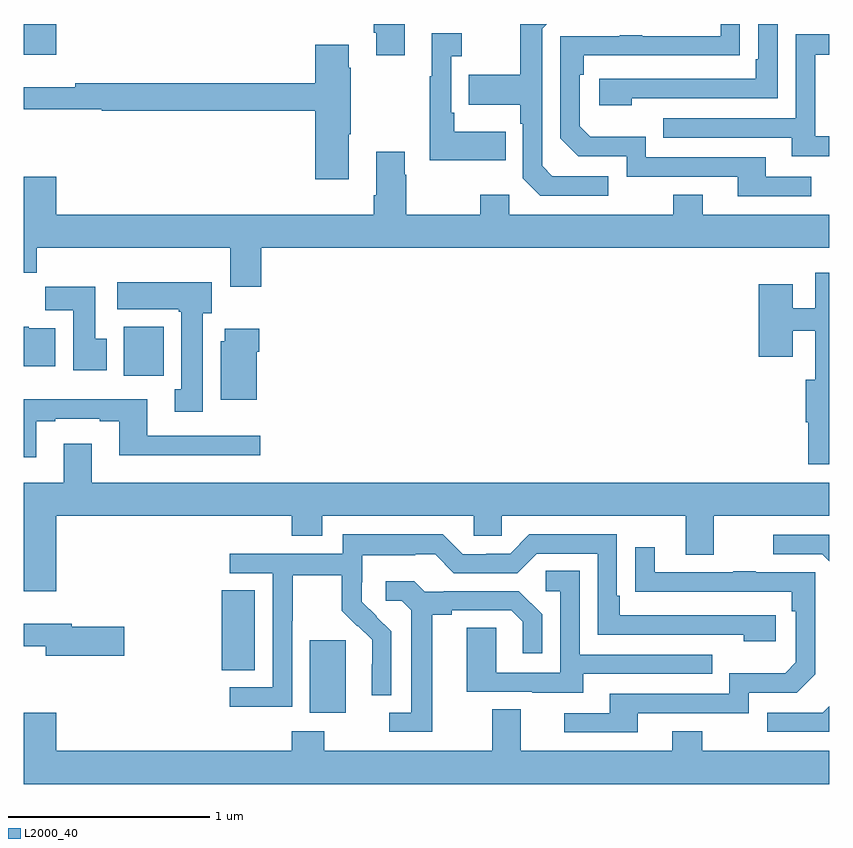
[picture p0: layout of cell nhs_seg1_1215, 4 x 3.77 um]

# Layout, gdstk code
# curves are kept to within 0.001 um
import gdstk
lib = gdstk.Library(unit=1e-6, precision=1e-09)
def R(c, l, rs):  # rectangles x0, y0, x1, y1
    for r in rs: c.add(gdstk.rectangle(r[:2], r[2:], *l))
def P(c, l, *ps):  # polygons
    for p in ps: c.add(gdstk.Polygon(p, *l))
L2000_40 = (2000, 40)

nhs_seg1_1215 = lib.new_cell('nhs_seg1_1215')
R(nhs_seg1_1215, L2000_40, [(178.421,526.778,178.6,527.139), (177.982,526.99,178.147,527.387), (177.497,528.452,177.694,528.694), (177,530.046,177.16,530.199)])
P(nhs_seg1_1215, L2000_40, [(178.739,530.155),(178.751,530.155),(178.751,530.043),(178.891,530.043),(178.891,530.199),(178.739,530.199)],
  [(180.91,529.44),(180.685,529.44),(180.685,529.536),(180.09,529.536),(180.09,529.639),(179.813,529.639),(179.76,529.692),(179.76,529.946),(179.78,529.946),(179.78,530.043),(180.557,530.044),(180.557,530.199),(180.461,530.199),(180.461,530.139),(180.071,530.139),(180.071,530.144),(179.959,530.144),(179.959,530.139),(179.664,530.139),(179.664,529.632),(179.754,529.542),(179.994,529.542),(179.994,529.44),(180.545,529.44),(180.545,529.344),(180.91,529.344)],
  [(179.902,529.443),(179.625,529.443),(179.574,529.494),(179.574,530.175),(179.598,530.199),(179.466,530.199),(179.466,529.947),(179.209,529.947),(179.209,529.799),(179.466,529.799),(179.466,529.703),(179.478,529.703),(179.478,529.434),(179.565,529.347),(179.902,529.347)],
  [(180.02,529.83),(180.744,529.83),(180.744,530.199),(180.648,530.199),(180.648,530.023),(180.635,530.023),(180.635,529.926),(179.859,529.926),(179.859,529.796),(180.02,529.796)],
  [(179.393,529.663),(179.137,529.663),(179.137,529.759),(179.124,529.759),(179.124,530.039),(179.176,530.039),(179.176,530.152),(179.027,530.152),(179.027,529.939),(179.016,529.939),(179.016,529.523),(179.393,529.523)],
  [(181,529.641),(180.93,529.641),(180.93,530.046),(181,530.046),(181,530.147),(180.834,530.147),(180.834,529.731),(180.175,529.731),(180.175,529.635),(180.815,529.635),(180.815,529.541),(181,529.541)],
  [(178.615,529.651),(178.623,529.651),(178.623,529.982),(178.615,529.982),(178.615,530.095),(178.448,530.095),(178.448,529.904),(177.256,529.904),(177.256,529.885),(177,529.885),(177,529.776),(177.387,529.776),(177.387,529.768),(178.448,529.768),(178.448,529.428),(178.615,529.428)],
  [(178.178,529.088),(181,529.088),(181,529.252),(180.373,529.252),(180.373,529.351),(180.226,529.351),(180.226,529.252),(179.412,529.252),(179.412,529.351),(179.266,529.351),(179.266,529.252),(178.899,529.252),(178.899,529.451),(178.891,529.451),(178.891,529.564),(178.751,529.564),(178.751,529.348),(178.739,529.348),(178.739,529.252),(177.16,529.252),(177.16,529.441),(177,529.441),(177,528.964),(177.065,528.964),(177.065,529.088),(178.025,529.088),(178.025,528.894),(178.178,528.894)],
  [(181,528.964),(180.93,528.964),(180.93,528.787),(180.82,528.787),(180.82,528.907),(180.65,528.907),(180.65,528.546),(180.82,528.546),(180.82,528.676),(180.93,528.676),(180.93,528.433),(180.884,528.433),(180.884,528.222),(180.896,528.222),(180.896,528.011),(181,528.011)],
  [(177.889,528.762),(177.934,528.762),(177.934,528.916),(177.465,528.916),(177.465,528.782),(177.769,528.782),(177.769,528.769),(177.782,528.769),(177.782,528.386),(177.749,528.386),(177.749,528.273),(177.889,528.273)],
  [(177.412,528.636),(177.355,528.636),(177.355,528.895),(177.106,528.895),(177.106,528.776),(177.245,528.776),(177.245,528.48),(177.412,528.48)],
  [(177.157,528.688),(177.024,528.688),(177.024,528.694),(177,528.694),(177,528.5),(177.157,528.5)],
  [(178.156,528.572),(178.169,528.572),(178.169,528.685),(177.998,528.685),(177.998,528.624),(177.977,528.624),(177.977,528.332),(178.156,528.332)],
  [(177.061,528.225),(177.157,528.225),(177.157,528.237),(177.377,528.237),(177.377,528.225),(177.473,528.225),(177.473,528.056),(178.174,528.056),(178.174,528.153),(177.613,528.153),(177.613,528.334),(177,528.334),(177,528.048),(177.061,528.048)],
  [(177.16,527.756),(178.331,527.756),(178.331,527.657),(178.483,527.657),(178.483,527.756),(179.235,527.756),(179.235,527.658),(179.373,527.658),(179.373,527.756),(180.287,527.756),(180.287,527.562),(180.427,527.562),(180.427,527.756),(181,527.756),(181,527.92),(177.337,527.92),(177.337,528.115),(177.197,528.115),(177.197,527.92),(177,527.92),(177,527.382),(177.16,527.382)],
  [(178.332,527.236),(178.335,527.236),(178.335,527.46),(178.579,527.46),(178.579,527.285),(178.656,527.208),(178.659,527.211),(178.73,527.141),(178.73,527.018),(178.728,527.018),(178.728,526.864),(178.824,526.864),(178.824,527.182),(178.678,527.33),(178.678,527.427),(178.68,527.427),(178.68,527.561),(178.943,527.561),(178.943,527.565),(179.043,527.565),(179.136,527.472),(179.451,527.472),(179.547,527.568),(179.85,527.568),(179.85,527.166),(180.575,527.166),(180.575,527.132),(180.736,527.132),(180.736,527.262),(179.959,527.262),(179.959,527.359),(179.946,527.359),(179.946,527.664),(179.511,527.664),(179.415,527.568),(179.297,527.568),(179.297,527.565),(179.181,527.565),(179.081,527.665),(178.584,527.665),(178.584,527.568),(178.023,527.568),(178.023,527.472),(178.236,527.472),(178.236,526.905),(178.023,526.905),(178.023,526.807),(178.332,526.807)],
  [(181,527.661),(180.723,527.661),(180.723,527.565),(180.966,527.565),(181,527.531)],
  [(180.049,526.776),(180.6,526.776),(180.6,526.878),(180.84,526.878),(180.93,526.968),(180.93,527.475),(180.635,527.475),(180.635,527.48),(180.523,527.48),(180.523,527.475),(180.133,527.475),(180.133,527.599),(180.037,527.599),(180.037,527.38),(180.814,527.379),(180.814,527.282),(180.834,527.282),(180.834,527.028),(180.781,526.975),(180.504,526.975),(180.504,526.872),(179.909,526.872),(179.909,526.776),(179.685,526.776),(179.685,526.68),(180.049,526.68)],
  [(179.779,526.971),(180.419,526.971),(180.419,527.067),(179.76,527.067),(179.76,527.483),(179.592,527.483),(179.592,527.382),(179.664,527.382),(179.664,526.977),(179.346,526.977),(179.346,527.201),(179.201,527.201),(179.201,526.881),(179.525,526.881),(179.525,526.877),(179.779,526.877)],
  [(179.029,527.264),(179.125,527.264),(179.125,527.286),(179.42,527.286),(179.477,527.229),(179.477,527.073),(179.574,527.073),(179.574,527.266),(179.458,527.382),(179.086,527.382),(179.086,527.379),(178.992,527.379),(178.94,527.431),(178.797,527.431),(178.797,527.334),(178.878,527.334),(178.925,527.287),(178.925,526.779),(178.815,526.779),(178.815,526.683),(179.029,526.683)],
  [(177.499,527.204),(177.238,527.204),(177.238,527.221),(177,527.221),(177,527.108),(177.11,527.108),(177.11,527.062),(177.499,527.062)],
  [(181,526.81),(180.969,526.779),(180.693,526.779),(180.693,526.683),(181,526.683)],
  [(181,526.588),(180.369,526.588),(180.369,526.687),(180.221,526.687),(180.221,526.588),(179.467,526.588),(179.467,526.796),(179.327,526.796),(179.327,526.588),(178.491,526.588),(178.491,526.687),(178.331,526.687),(178.331,526.588),(177.16,526.588),(177.16,526.777),(177,526.777),(177,526.424),(181,526.424)])

lib.write_gds('nhs_seg1_1215.gds')
